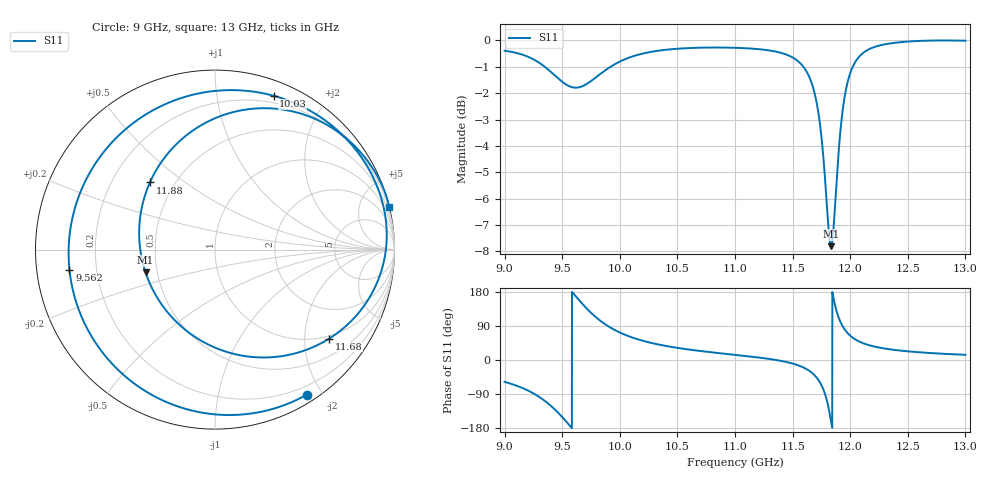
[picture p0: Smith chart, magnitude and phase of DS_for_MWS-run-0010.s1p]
! TOUCHSTONE file generated by CST DESIGN STUDIO
! Date and time: Tue Feb  4 16:41:45 2025
! Project name: C:\Work\MatlabApps\UnitCellOptimizationMatlab\CST\unitcell.cst
! Tree item: Tasks\Sweep1\SPara1\S-Parameters
! Header version: 2024
! Port assignment regex: !\s*Touchstone port\s*([0-9]+)\s*=\s*(CST MWS port|CST DES external port|CST DES block port)\s*(.+)\s* \(\"(.*)\"\)(\s*mode\s*([0-9]+))?.*
! Touchstone port assignment:
! Touchstone port 1 = CST DES external port 1 ("")
# GHz S MA R 50
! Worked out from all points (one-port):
!   4001 points, 9 GHz to 13 GHz, reference 50 ohm
!   lowest |S11| = -7.8 dB at 11.83 GHz (marker M1), VSWR 2.37, Z = 21.5 - j6.55 ohm
!   |S11| at or under -10 dB: nowhere
!   S11 on the Smith chart (normalised r, x): 9 GHz: 0.10, -1.81; 9.562 GHz: 0.10, -0.07; 10.03 GHz: 0.13, +1.44; 11.68 GHz: 0.92, -2.62; 11.88 GHz: 0.36, +0.37; 13 GHz: 0.04, +8.32
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9  0.956 -57.7
9.157  0.9394 -74.2
9.307  0.905 -98.8
9.406  0.87 -122.1
9.5  0.8349 -150.5
9.562  0.8187 -172.0
9.653  0.8157 155.7
9.77  0.8438 119.0
9.871  0.8768 94.7
10  0.9118 72.6
10.025  0.9172 69.2
10.23  0.9475 48.3
10.5  0.9644 32.0
11  0.9684 13.6
11.5  0.9283 -9.4
11.608  0.8824 -21.9
11.683  0.8065 -38.0
11.727  0.7215 -54.0
11.771  0.586 -80.8
11.802  0.4708 -112.4
11.834  0.4073 -161.8
11.877  0.5211 134.1
11.93  0.7235 91.5
12  0.8666 64.2
12.072  0.9285 49.6
12.168  0.9634 38.7
12.5  0.9951 22.9
13  0.9987 13.7
